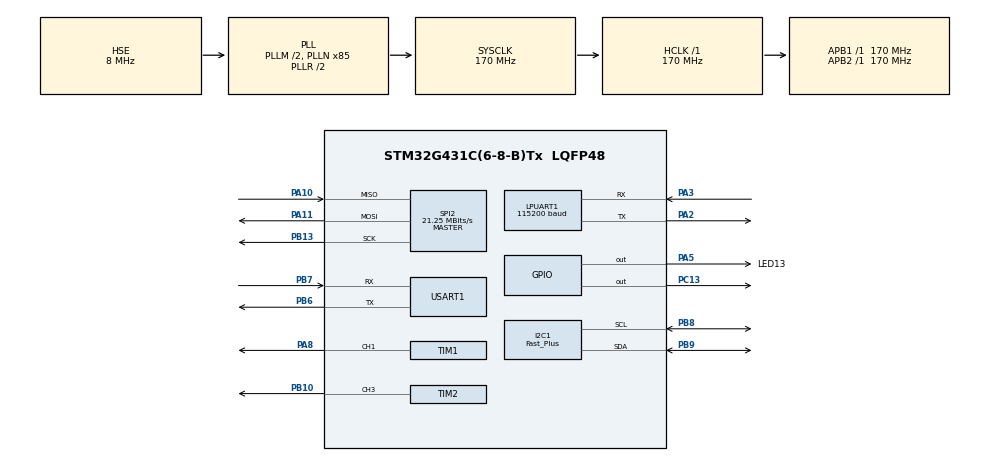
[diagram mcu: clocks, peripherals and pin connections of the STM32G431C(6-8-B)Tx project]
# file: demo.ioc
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I2C1.I2C_Speed_Mode=I2C_Fast_Plus
I2C1.Timing=0x4052060F
LPUART1.BaudRate=115200
Mcu.Family=STM32G4
Mcu.Name=STM32G431C(6-8-B)Tx
Mcu.Package=LQFP48
NVIC.LPUART1_IRQn=true\:0\:0\:false\:false\:true\:true\:true\:true
NVIC.PriorityGroup=NVIC_PRIORITYGROUP_4
NVIC.TIM1_BRK_TIM15_IRQn=true\:15\:0\:false\:false\:true\:false\:true\:true
NVIC.TimeBase=TIM1_BRK_TIM15_IRQn
NVIC.TimeBaseIP=TIM15
NVIC.USART1_IRQn=true\:1\:0\:true\:false\:true\:true\:true\:true
PA10.Mode=Full_Duplex_Master
PA10.Signal=SPI2_MISO
PA11.Mode=Full_Duplex_Master
PA11.Signal=SPI2_MOSI
PA13.Mode=Serial_Wire
PA13.Signal=SYS_JTMS-SWDIO
PA14.Mode=Serial_Wire
PA14.Signal=SYS_JTCK-SWCLK
PA2.Mode=Asynchronous
PA2.Signal=LPUART1_TX
PA3.Mode=Asynchronous
PA3.Signal=LPUART1_RX
PA5.GPIO_Label=LED13
PA5.Signal=GPIO_Output
PA8.Signal=S_TIM1_CH1
PB10.Signal=S_TIM2_CH3
PB13.Mode=Full_Duplex_Master
PB13.Signal=SPI2_SCK
PB6.Mode=Asynchronous
PB6.Signal=USART1_TX
PB7.Mode=Asynchronous
PB7.Signal=USART1_RX
PB8-BOOT0.GPIO_Pu=GPIO_PULLUP
PB8-BOOT0.Mode=I2C
PB8-BOOT0.Signal=I2C1_SCL
PB9.GPIO_Pu=GPIO_PULLUP
PB9.Mode=I2C
PB9.Signal=I2C1_SDA
PC13.GPIO_ModeDefaultOutputPP=GPIO_MODE_OUTPUT_PP
PC13.GPIO_PuPd=GPIO_PULLUP
PC13.PinState=GPIO_PIN_SET
PC13.Signal=GPIO_Output
PC14-OSC32_IN.Mode=LSE-External-Oscillator
PC14-OSC32_IN.Signal=RCC_OSC32_IN
PC15-OSC32_OUT.Mode=LSE-External-Oscillator
PC15-OSC32_OUT.Signal=RCC_OSC32_OUT
PF0-OSC_IN.Mode=HSE-External-Clock-Source
PF0-OSC_IN.Signal=RCC_OSC_IN
ProjectManager.HeapSize=0x200
ProjectManager.StackSize=0x400
ProjectManager.TargetToolchain=MDK-ARM V5.32
RCC.ADC12Freq_Value=170000000
RCC.AHBFreq_Value=170000000
RCC.APB1Freq_Value=170000000
RCC.APB1TimFreq_Value=170000000
RCC.APB2Freq_Value=170000000
RCC.APB2TimFreq_Value=170000000
RCC.CortexFreq_Value=170000000
RCC.EXTERNAL_CLOCK_VALUE=12288000
RCC.FDCANCLockSelection=RCC_FDCANCLKSOURCE_HSE
RCC.HCLKFreq_Value=170000000
RCC.HSE_VALUE=8000000
RCC.HSI48_VALUE=48000000
RCC.HSI_VALUE=16000000
RCC.PLLM=RCC_PLLM_DIV2
RCC.PLLN=85
RCC.PLLQ=RCC_PLLQ_DIV4
RCC.PLLSourceVirtual=RCC_PLLSOURCE_HSE
RCC.SYSCLKFreq_VALUE=170000000
RCC.SYSCLKSource=RCC_SYSCLKSOURCE_PLLCLK
RCC.USBFreq_Value=85000000
RCC.VCOOutputFreq_Value=340000000
SH.S_TIM1_CH1.0=TIM1_CH1,PWM Generation1 CH1
SH.S_TIM2_CH3.0=TIM2_CH3,PWM Generation3 CH3
SPI2.BaudRatePrescaler=SPI_BAUDRATEPRESCALER_8
SPI2.CalculateBaudRate=21.25 MBits/s
SPI2.DataSize=SPI_DATASIZE_8BIT
SPI2.Direction=SPI_DIRECTION_2LINES
SPI2.Mode=SPI_MODE_MASTER
SPI2.VirtualType=VM_MASTER
TIM1.Channel-PWM\ Generation1\ CH1=TIM_CHANNEL_1
TIM1.PeriodNoDither=5000-1
TIM1.Prescaler=170-1
TIM2.Channel-PWM\ Generation3\ CH3=TIM_CHANNEL_3
TIM2.PeriodNoDither=5000-1
TIM2.Prescaler=170-1
USART1.VirtualMode-Asynchronous=VM_ASYNC
VP_SYS_VS_DBSignals.Mode=DisableDeadBatterySignals
VP_SYS_VS_tim15.Mode=TIM15
board=custom

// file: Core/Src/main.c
/* USER CODE BEGIN Header */
/**
  ******************************************************************************
  * @file           : main.c
  * @brief          : Main program body
  ******************************************************************************
  * @attention
  *
  * Copyright (c) 2026 STMicroelectronics.
  * All rights reserved.
  *
  * This software is licensed under terms that can be found in the LICENSE file
  * in the root directory of this software component.
  * If no LICENSE file comes with this software, it is provided AS-IS.
  *
  ******************************************************************************
  */
/* USER CODE END Header */
#include "main.h"
#include "i2c.h"
#include "usart.h"
#include "spi.h"
#include "tim.h"
#include "gpio.h"

/* USER CODE BEGIN Includes */
#include "stdio.h"
#include "string.h"

/* USER CODE END Includes */

/* USER CODE BEGIN PV */
uint8_t slec_flag = 0;           // menu selection
char highli[4]={0,0,0,0};        // Menu highlight markers
uint8_t rx_data;                 // Single byte for LPUART1 reception
uint8_t cut_down = 0;            // Stop command for PID control--mode2
uint8_t  rx_buf[64];             // USART1 received data storage
uint16_t rx_cnt = 0;             // Counter for USART1 reception
uint8_t  rx_line_done = 0;       // offer for the complete status of the receiption on USART1
uint8_t  rx_temp;                // Temporary variable for USART1 reception
uint32_t last_pid_time = 0;			 //Prepare for the D of the PID controling

const char menu[4][32] = {
	"1. OpenMV 1eye distance detact",
	"2. PID control MG90 align cam",
	"3. output to flash",
	"4. erase flash"
};

char uart1_rx_buf[128] = {0};		//storage of UART1 receive
uint16_t uart1_rx_idx = 0;			//index of the UART1 reception
uint8_t uart1_rx_complete = 0;	//flag of the status of the UART completion

// Flash variables
uint32_t flash_ptr = 0;                      // Next available address to write in Flash
#define FLASH_START_ADDR  0x000000           // Start address of external SPI Flash
#define FLASH_SECTOR_SIZE 4096               // Sector size of W25Q64 Flash is 4KB
#define FLASH_END_ADDR    (FLASH_START_ADDR + FLASH_SECTOR_SIZE - 1) // End of first sector

// ======= PID=======
float Kp = 4.5f;	// or 2 for the openmv
float Ki = 3.0f;
float Kd = 0.3f;

float pid_output = 0;
int last_error = 0;
float integral = 0;

/* USER CODE END PV */

void SystemClock_Config(void);
/* USER CODE BEGIN PFP */

	// Flash busy wait function
	uint8_t Flash_CheckBusy(void);
	// Flash write enable
	void Flash_WriteEnable(void);
	// Flash single byte write
	void Flash_WriteByte(uint32_t addr, uint8_t dat);
	// Flash single byte read
	uint8_t Flash_ReadByte(uint32_t addr);
	// Flash sector erase
	void Flash_EraseSector(uint32_t addr);
	// Function 1: Appendence all data to the flash
	void Func1_Add_1(void);
	// Function 3: Read all data
	void Func3_Read_All(void);

	//the beep setting that only need be done for once
	void Beep_Once_At_Startup(void);

/* USER CODE BEGIN PFP */

/* USER CODE END PFP */

/* USER CODE BEGIN 0 */

			//I write this fuction is because HAL_Delay is blooking,so I've done tihis because the basic loop can be interupt
			//In addition this delay function depense on my clock frequency,I set it in 170MHz
			void DELAY_1MS(void)
			{
					for(uint32_t i = 0; i < 56000; i++)
					{
							__NOP();		//empty operatioon
					}
			}

			// Flash check the status
			uint8_t Flash_CheckBusy(void)
			{
					uint8_t status = 0;
					HAL_GPIO_WritePin(GPIOC, GPIO_PIN_13, GPIO_PIN_RESET);//let the CS been low,to let it been chosen
					uint8_t cmd = 0x05;		//the reading status command,which means to read the status register
					HAL_SPI_Transmit(&hspi2, &cmd, 1, 100);
					HAL_SPI_Receive(&hspi2, &status, 1, 100);		//read the status to the variable"status"
					HAL_GPIO_WritePin(GPIOC, GPIO_PIN_13, GPIO_PIN_SET);
					return (status & 0x01); 		// 1="busy",0="idle";status has a long line ,but the 0x01 & means only read the last byte
			}

			// mainly enable the FLASH torecord the things in the variable
			void Flash_WriteEnable(void)
			{
					uint8_t cmd = 0x06;		//the command that enable the FLASH to free the protection of the reloading and erase
					HAL_GPIO_WritePin(GPIOC, GPIO_PIN_13, GPIO_PIN_RESET);
					HAL_SPI_Transmit(&hspi2, &cmd, 1, 100);
					HAL_GPIO_WritePin(GPIOC, GPIO_PIN_13, GPIO_PIN_SET);
					DELAY_1MS(); 		// need to wait for it
			}

			// Flash actually begin to proguamming but only can write 1 byte
			void Flash_WriteByte(uint32_t addr, uint8_t dat)
			{
					Flash_WriteEnable();
					uint8_t cmd[5] = {0x02,		//the command that enables the page programming
														(uint8_t)((addr >> 16) & 0xFF), 	// the last 24~18 bytes,
														(uint8_t)((addr >> 8) & 0xFF),  	// the last 16~8 bytes,
														(uint8_t)(addr & 0xFF),         	// the last 8~1 bytes,
														dat};			//the actually data that need to deliver
					HAL_GPIO_WritePin(GPIOC, GPIO_PIN_13, GPIO_PIN_RESET);
					HAL_SPI_Transmit(&hspi2, cmd, 5, 100);
					HAL_GPIO_WritePin(GPIOC, GPIO_PIN_13, GPIO_PIN_SET);

					// to avoid been stuck ,need to check the status curruntly
					while(Flash_CheckBusy())
					{
							DELAY_1MS(); 	// 1 for 1ms,so this loop will be fast,to avoid wasting time
					}
			}

			// Flash function that can read a byte from the flash
			uint8_t Flash_ReadByte(uint32_t addr)
			{
					uint8_t cmd[4] = {0x03,		//the command that enables it to read data
														(uint8_t)((addr >> 16) & 0xFF),//this are same to the writing functiong
														(uint8_t)((addr >> 8) & 0xFF),
														(uint8_t)(addr & 0xFF)};
					uint8_t dat;		//name one to let the receive data has a place to store
					HAL_GPIO_WritePin(GPIOC, GPIO_PIN_13, GPIO_PIN_RESET);
					HAL_SPI_Transmit(&hspi2, cmd, 4, 100);
					HAL_SPI_Receive(&hspi2, &dat, 1, 100);
					HAL_GPIO_WritePin(GPIOC, GPIO_PIN_13, GPIO_PIN_SET);
					return dat;
			}

			//as the fuction name goes,it can transmit a bunch of bytes
			void Flash_WriteBytes(uint32_t addr, const uint8_t *buf, uint16_t len)
			{
					if (len == 0) return;		//no need to use this
					uint16_t bytes_written = 0;
					#define PAGE_SIZE 256 		// W25Q64 has 256 pages
					while (bytes_written < len)
					{
							//check if you cross the line
							uint32_t page_remain = PAGE_SIZE - (addr % PAGE_SIZE);
							//the culculation in()means the offset in the page,so page_remain means as its name
							uint16_t write_len = (len - bytes_written) < page_remain ? (len - bytes_written) : page_remain;
							//compares the smaller one between the "rest bytes need to be write"and"how much the page left"

							Flash_WriteEnable();
							uint8_t cmd[4] = {0x02, (addr>>16)&0xFF, (addr>>8)&0xFF, addr&0xFF};
							HAL_GPIO_WritePin(GPIOC, GPIO_PIN_13, GPIO_PIN_RESET);
							HAL_SPI_Transmit(&hspi2, cmd, 4, 100);
							HAL_SPI_Transmit(&hspi2, (uint8_t*)buf + bytes_written, write_len, 100);//the most important sentense that actually done the transmit
							HAL_GPIO_WritePin(GPIOC, GPIO_PIN_13, GPIO_PIN_SET);

							while (Flash_CheckBusy()); 		//waiting for the command been done
							addr += write_len;		//move afterward the address
							bytes_written += write_len;		//update
					}
			}

			// the most effectible fnction that take charge in the FLASH writting
			void Flash_WriteString(uint32_t addr, const char *str)
			{
					uint16_t str_len = strlen(str); 	// aculate the length
					// keep the addition in control
					if (addr + str_len + 1 > FLASH_END_ADDR)
					{
							printf("Flash: No space for string\r\n");
							return;
					}
					// call the other functions
					Flash_WriteBytes(addr, (const uint8_t*)str, str_len);
					Flash_WriteByte(addr + str_len, '\0');
			}

			//  the other most effectible fnction that take charge in the FLASH reading
			uint16_t Flash_ReadString(uint32_t addr, char *buf, uint16_t buf_len)
			{
					if (buf_len == 0) return 0;
					uint16_t i = 0;		//record the place
					buf[0] = '\0';		//avoid the mess output
					while (i < buf_len - 1 && addr < FLASH_END_ADDR)
					{
							buf[i] = Flash_ReadByte(addr);
							if (buf[i] == '\0') break; // exit the loop decisively
							i++;
							addr++;
					}
					buf[i] = '\0'; // end the string
					return i;
			}

			// the main entrance of the function 1
			void Func1_Add_1(void)
			{
					uint16_t str_len = strlen((const char*)rx_buf); 		//culculate the lenth
					if (str_len == 0) 		//usless data
					{
							printf("Flash: Empty string, skip\r\n");
							return;
					}
					if (flash_ptr + str_len + 1 > FLASH_END_ADDR) 		//valid data nut the sector is not
					{
							printf("Flash: Sector full! Can't write more data\r\n");		//feedback to show the problrm
							return;
					}
					Flash_WriteString(flash_ptr, (const char*)rx_buf);		//write the data to the flash
					flash_ptr += str_len + 1;		// Update pointer to next free address
					printf("Flash written: %s | Next addr: %lu\r\n", rx_buf, (unsigned long)flash_ptr);
			}

			// the main entrance of the function 3,that need to show all data that are writen in flash
			void Func3_Read_All(void)
			{
					printf("\r\n==== Flash All Data ====\r\n");
					if (flash_ptr == 0) 		//when there are empty in the FLASH
					{
							printf("No data stored in Flash!\r\n");
					}
					else
					{
							uint32_t curr_addr = FLASH_START_ADDR;		// Start read from Flash start addr
							uint16_t str_idx = 1; 	// String index
							char read_buf[64]; 			// read string

							while (curr_addr < flash_ptr && curr_addr < FLASH_END_ADDR)
							// check not over written addr or not over Flash sector
							{
									// Read string from current addr
									uint16_t len = Flash_ReadString(curr_addr, read_buf, sizeof(read_buf));
									if (len == 0) break;		// No string
									printf("String %d: %s (addr: %lu, len: %u)\r\n", str_idx++, read_buf, (unsigned long)curr_addr, len);
								curr_addr += len + 1; 		// Update addr to next string :len + null
							}
							// Print all data
							printf("Total strings: %d | Used bytes: %lu\r\n", str_idx - 1, (unsigned long)flash_ptr);
					}
					printf("\r\n=======================\r\n");
			}

			// fnction that take charge in the FLASH erasing
			void Flash_EraseSector(uint32_t addr)
			{
					Flash_WriteEnable();			// Enable write before erase
					uint8_t cmd[4] = {0x20,		//0x20 means Sector Erase
														(uint8_t)((addr >> 16) & 0xFF),		//same to the other
														(uint8_t)((addr >> 8) & 0xFF),
														(uint8_t)(addr & 0xFF)};

					HAL_GPIO_WritePin(GPIOC, GPIO_PIN_13, GPIO_PIN_RESET);		//low the CS
					HAL_SPI_Transmit(&hspi2, cmd, 4, 100);			//send the cmd to the flash
					HAL_GPIO_WritePin(GPIOC, GPIO_PIN_13, GPIO_PIN_SET);			//high the CS

					uint32_t timeout = 0;				//enable time counter
					while(Flash_CheckBusy())		// Wait for erase complete
					{
							DELAY_1MS();
							timeout++;
							if(timeout > 500) 			// Timeout after 500ms
							{
									printf("Flash Erase Timeout! Check SPI connection\r\n");// Print timeout err
									break;
							}
					}

					flash_ptr = FLASH_START_ADDR;  		// Reset Flash next write address to start
					uint8_t check = Flash_ReadByte(FLASH_START_ADDR);		//use the flash_readbyte to check if the erase has been done already
					printf("Erase check: addr0 = 0x%02X\r\n", check); 	//print the check result
			}

			// FLASH INIT scan the flash to find the last worse byte and find next free write address
			void Flash_Init(void)
			{
				uint32_t curr_addr = FLASH_START_ADDR;		// Start scan from Flash start addr
				char read_buf[64];

				// scan the FLASH until meet the umpty bytes
				while (curr_addr < FLASH_END_ADDR)	//cannot over the Flash sector
				{
					uint8_t byte = Flash_ReadByte(curr_addr);	// Read 1 byte from current addr
					// W25Q64uncode bytes is 0xFF,if it meet means that its at the end of the data
					if (byte == 0xFF)
					{
						flash_ptr = curr_addr;  // recovery
						printf("FLASH init done,already used addr:0x%06lX,next addr will be:0x%06lX",
									 (unsigned long)curr_addr, (unsigned long)flash_ptr);
						return;
					}

					if (byte == '\0')		// Meet null data, skip
					{
						curr_addr++;		// Next addr
						continue;
					}

					Flash_ReadString(curr_addr, read_buf, sizeof(read_buf));		// Read stored string
					curr_addr += strlen(read_buf) + 1;		// Update address to next string
				}

				// the sector is full
				flash_ptr = FLASH_END_ADDR;
				printf("FLASHis full ,init done\r\n");
			}

			// =======BEEP(400Hz~800Hz) =======
			void Beep_Once_At_Startup(void)
			{
				__HAL_TIM_SET_PRESCALER(&htim2, 169); 			//set the psc,this sentense may be useless because I already done the seeting in the CUBEMX
				HAL_TIM_PWM_Start(&htim2, TIM_CHANNEL_3); 	//enable the chennel

				for(uint32_t ms = 0; ms < 1000; ms++)
				{
					uint32_t freq = 400 + (ms * 400) / 1000;	//main change of the frequenccy
					uint32_t arr = 1000000 / freq - 1;				//change from the frequency to the ARR

					__HAL_TIM_SET_AUTORELOAD(&htim2, arr);		//set the new ARR
					__HAL_TIM_SET_COMPARE(&htim2, TIM_CHANNEL_3, arr / 2);		//set the CCR to let the PWM keep been 50%, to let the sound been clear

					DELAY_1MS(); 		//delay for 1ms once
				}

				HAL_TIM_PWM_Stop(&htim2, TIM_CHANNEL_3);		//shut teh channel
			}

int fputc(int ch, FILE *f)		//redirection to the lpuart
{
  HAL_UART_Transmit(&hlpuart1, (uint8_t *)&ch, 1, HAL_MAX_DELAY);
  return ch;
}

void update_highli(void)		//as teh name gose ,provide the interaction function
{
    for(int i=0; i<4; i++) highli[i] = ' ';
    highli[slec_flag] = '*';
}

void display_menu(void)		//as the name gose it provide the main manu display
{
	printf("\033[2J\033[H");
	printf("========== TALOS ==========\r\n");
	for(int i=0; i<4; i++)
		printf("%c  %s\r\n", highli[i], menu[i]);
	printf("===========================\r\n");
	printf("up down by arrow key, select by enter\r\n");
}

void key_proc(uint8_t ch)		//the firstly main logic of the input,and show as the display
{
    if(ch == 'A' || ch == 'D')//up and left
    {
        if(slec_flag > 0)
        {
					slec_flag--;
					update_highli();
        }
        else
        {
					printf("input error,the mode can only be chose between 1~4");
					slec_flag = 0;
        }
				printf("\033[2J\033[H");
        display_menu();
    }
    else if(ch == 'B' || ch == 'C')//down and right
    {
        if(slec_flag < 3)
        {
					slec_flag++;
					update_highli();
        }
        else
        {
					slec_flag = 3;
        }
				printf("\033[2J\033[H");
        display_menu();
    }
    else if(ch == '\r')
    {
			printf("\r\nis doing the mode:%d\r\n", slec_flag + 1);
			char see_mode = slec_flag + 48;
			HAL_UART_Transmit(&huart1,(uint8_t*)&see_mode, 1, 100);				//send the data to UART1(cam)
			if(slec_flag == 2) Func3_Read_All();    											//begin the mode 3
			if(slec_flag == 3) Flash_EraseSector(FLASH_START_ADDR); 			//begin the mode 4
    }
		else if (ch == 3)
		{
				update_highli();
				display_menu();
				printf("\r\ncut down the chosen mode\r\n");									//shut the keep running mode
				HAL_UART_Transmit(&huart1,(uint8_t*)&cut_down, 1, 100);
		}
}

void HAL_UART_RxCpltCallback(UART_HandleTypeDef *huart)
{
    if(huart->Instance == LPUART1)
    {
				uint8_t ch = rx_data;
				HAL_UART_Receive_IT(&hlpuart1, &rx_data, 1);
        if(ch != 0x1B && ch != '[')			//cause of the arrow input's format,it made of 0x1B + '[' and the valid 'A/B/C/D'
        {
            key_proc(ch);
        }
    }
    else if(huart->Instance == USART1)		//recieve from the cam device
    {
				HAL_UART_Receive_IT(&huart1, &rx_temp, 1);		//open the IT first,to avoid lossing the data

				if(rx_temp == 0x00 || rx_temp == 0xFF)		//empty data
				{
						return;
				}

				if(rx_temp == '\n' || rx_temp == '\r')		//end of one data output--depend on the format of the cam device code
				{
						if(rx_cnt > 0)
						{
								rx_buf[rx_cnt] = '\0';		//end the char array to let it be a string
								rx_line_done = 1;		//create the flag to advance the judgment
						}
						rx_cnt = 0;			//reinit the counter
				}
				else
				{
						if(rx_cnt < 63)		//cannot let itbe out of the limit
						{
								rx_buf[rx_cnt++] = rx_temp;		//storage of the data
						}
						else
						{
								rx_cnt = 0;		//reinit the counter
						}
				}
    }
}

										// ===================== PID  =====================
										//haven't ensure the accurate value**********
										int PID_Calc(int target, int current)
										{
												uint32_t current_time = HAL_GetTick();
												float dt = (current_time - last_pid_time) / 1000.0f;
												last_pid_time = current_time;
												if(dt <= 0.0001f) dt = 0.001f;
												int error = target - current;
												integral += error * dt;
												float derivative = (error - last_error) / dt;

												float p_term = Kp * error;
												float i_term = Ki * integral;
												float d_term = Kd * derivative;
												float ideal_out = p_term + i_term + d_term;

												float real_out = ideal_out;
												if(real_out >  400) real_out = 400;
												if(real_out < -400) real_out =-400;

												float windup_diff = ideal_out - real_out;
												integral -= windup_diff / Ki;  				//Integral Back-calculation

												if(integral >  500) integral = 500;
												if(integral < -500) integral =-500;

												last_error = error;

												return (int)real_out;
										}

/* USER CODE END 0 */

int main(void)
{

  /* MCU Configuration--------------------------------------------------------*/

  /* Reset of all peripherals, Initializes the Flash interface and the Systick. */
  HAL_Init();

  /* Configure the system clock */
  SystemClock_Config();

  /* Initialize all configured peripherals */
  MX_GPIO_Init();
  MX_USART1_UART_Init();
  MX_LPUART1_UART_Init();
  MX_I2C1_Init();
  MX_TIM2_Init();
  MX_TIM1_Init();
  MX_SPI2_Init();
  /* USER CODE BEGIN 2 */
	Beep_Once_At_Startup();
	update_highli();
	display_menu();
	HAL_UART_Receive_IT(&hlpuart1, &rx_data, 1);
	HAL_UART_Receive_IT(&huart1, &rx_temp, 1);
	for (int c=1;c <= 20;c++)DELAY_1MS();
	Flash_Init();
	HAL_TIM_PWM_Start(&htim1, TIM_CHANNEL_1);
  /* USER CODE END 2 */

  /* Infinite loop */
	while (1)
	{
		if(rx_line_done == 1)				//the flag has been done
		{
				rx_line_done = 0;				//let it be 0,so it can be used again

			if(slec_flag == 0)				//decision: is it mode 1
				{
						Func1_Add_1();   		//do the function
				}
				else if(slec_flag == 1)	//decision: is it mode 2
				{
					//__HAL_TIM_SET_COMPARE(&htim2, TIM_CHANNEL_1, pwm_val);

					int error_val = 0;
					if(sscanf((char*)rx_buf, "ERROR:%d", &error_val) == 1)	//receive the valid data
						{
								int pid_out = PID_Calc(0, error_val);							//connect the data with the PID control

								int pwm_val = 1500 + pid_out;

								if(pwm_val > 2500) pwm_val = 2500;
								if(pwm_val <  500) pwm_val =  500;

								__HAL_TIM_SET_COMPARE(&htim1, TIM_CHANNEL_1, pwm_val);	//rersult as the PWM output

								printf("Error:%4d  PID:%4d  PWM:%4d\r\n", error_val, pid_out, pwm_val);//ossing for debug,and check the logic
						}
					}
				}
		}
}

void SystemClock_Config(void)
{
  RCC_OscInitTypeDef RCC_OscInitStruct = {0};
  RCC_ClkInitTypeDef RCC_ClkInitStruct = {0};

  /** Configure the main internal regulator output voltage
  */
  HAL_PWREx_ControlVoltageScaling(PWR_REGULATOR_VOLTAGE_SCALE1_BOOST);

  /** Initializes the RCC Oscillators according to the specified parameters
  * in the RCC_OscInitTypeDef structure.
  */
  RCC_OscInitStruct.OscillatorType = RCC_OSCILLATORTYPE_HSE;
  RCC_OscInitStruct.HSEState = RCC_HSE_BYPASS;
  RCC_OscInitStruct.PLL.PLLState = RCC_PLL_ON;
  RCC_OscInitStruct.PLL.PLLSource = RCC_PLLSOURCE_HSE;
  RCC_OscInitStruct.PLL.PLLM = RCC_PLLM_DIV2;
  RCC_OscInitStruct.PLL.PLLN = 85;
  RCC_OscInitStruct.PLL.PLLP = RCC_PLLP_DIV2;
  RCC_OscInitStruct.PLL.PLLQ = RCC_PLLQ_DIV4;
  RCC_OscInitStruct.PLL.PLLR = RCC_PLLR_DIV2;
  if (HAL_RCC_OscConfig(&RCC_OscInitStruct) != HAL_OK)
  {
    Error_Handler();
  }

  /** Initializes the CPU, AHB and APB buses clocks
  */
  RCC_ClkInitStruct.ClockType = RCC_CLOCKTYPE_HCLK|RCC_CLOCKTYPE_SYSCLK
                              |RCC_CLOCKTYPE_PCLK1|RCC_CLOCKTYPE_PCLK2;
  RCC_ClkInitStruct.SYSCLKSource = RCC_SYSCLKSOURCE_PLLCLK;
  RCC_ClkInitStruct.AHBCLKDivider = RCC_SYSCLK_DIV1;
  RCC_ClkInitStruct.APB1CLKDivider = RCC_HCLK_DIV1;
  RCC_ClkInitStruct.APB2CLKDivider = RCC_HCLK_DIV1;

  if (HAL_RCC_ClockConfig(&RCC_ClkInitStruct, FLASH_LATENCY_4) != HAL_OK)
  {
    Error_Handler();
  }
}

void HAL_TIM_PeriodElapsedCallback(TIM_HandleTypeDef *htim)
{
  if (htim->Instance == TIM15)
  {
    HAL_IncTick();
  }
}

void Error_Handler(void)
{
  __disable_irq();
  while (1)
  {
  }
}
